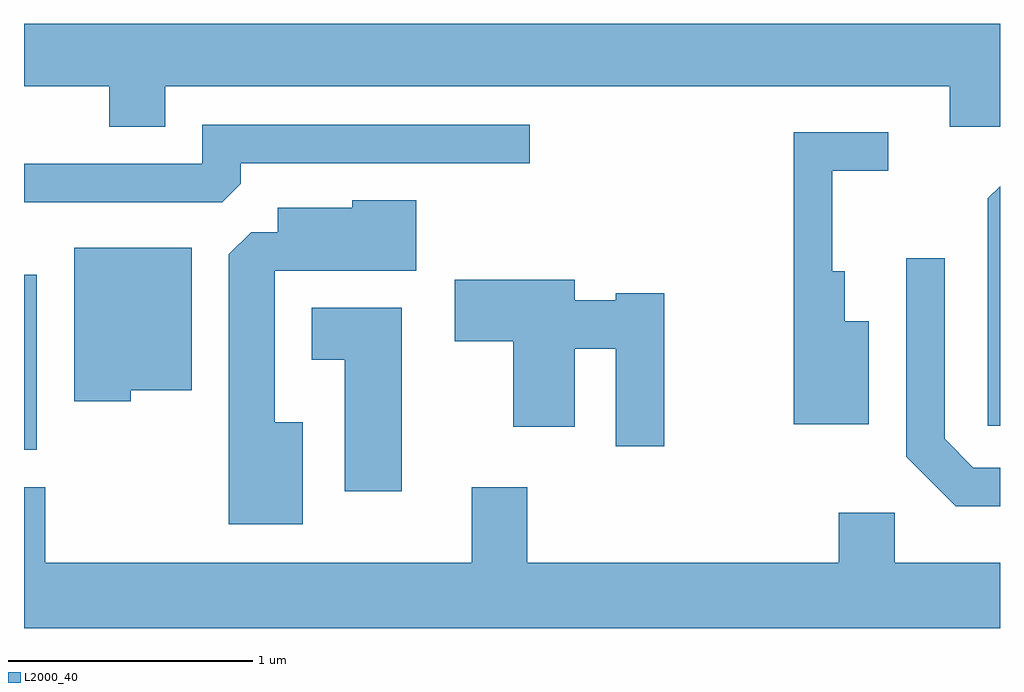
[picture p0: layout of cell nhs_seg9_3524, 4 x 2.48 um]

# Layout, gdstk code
import gdstk
lib = gdstk.Library(unit=1e-6, precision=1e-09)
def R(c, l, rs):  # rectangles x0, y0, x1, y1
    for r in rs: c.add(gdstk.rectangle(r[:2], r[2:], *l))
def P(c, l, *ps):  # polygons
    for p in ps: c.add(gdstk.Polygon(p, *l))
L2000_40 = (2000, 40)

nhs_seg9_3524 = lib.new_cell('nhs_seg9_3524')
R(nhs_seg9_3524, L2000_40, [(287.611,2074.686,287.664,2075.404)])
P(nhs_seg9_3524, L2000_40, [(288.189,2076.176),(291.406,2076.176),(291.406,2076.011),(291.611,2076.011),(291.611,2076.432),(287.611,2076.432),(287.611,2076.176),(287.961,2076.176),(287.961,2076.011),(288.189,2076.011)],
  [(288.499,2075.777),(288.499,2075.861),(289.683,2075.861),(289.683,2076.019),(288.341,2076.019),(288.341,2075.859),(287.611,2075.859),(287.611,2075.701),(288.424,2075.701)],
  [(291.074,2075.214),(290.974,2075.214),(290.974,2075.419),(290.924,2075.419),(290.924,2075.831),(291.153,2075.831),(291.153,2075.989),(290.766,2075.989),(290.766,2074.791),(291.074,2074.791)],
  [(291.611,2075.767),(291.561,2075.717),(291.561,2074.786),(291.611,2074.786)],
  [(288.754,2074.799),(288.639,2074.799),(288.639,2075.421),(289.219,2075.421),(289.219,2075.709),(288.956,2075.709),(288.956,2075.679),(288.651,2075.679),(288.651,2075.579),(288.542,2075.579),(288.451,2075.489),(288.451,2074.381),(288.754,2074.381)],
  [(288.049,2074.931),(288.299,2074.931),(288.299,2075.514),(287.816,2075.514),(287.816,2074.886),(288.049,2074.886)],
  [(291.611,2074.614),(291.502,2074.614),(291.384,2074.731),(291.384,2075.472),(291.226,2075.472),(291.226,2074.659),(291.429,2074.456),(291.611,2074.456)],
  [(290.234,2075.329),(290.036,2075.329),(290.036,2075.299),(289.869,2075.299),(289.869,2075.384),(289.376,2075.384),(289.376,2075.131),(289.616,2075.131),(289.616,2074.781),(289.869,2074.781),(289.869,2075.101),(290.036,2075.101),(290.036,2074.701),(290.234,2074.701)],
  [(289.159,2075.269),(288.791,2075.269),(288.791,2075.056),(288.926,2075.056),(288.926,2074.516),(289.159,2074.516)],
  [(291.611,2074.224),(291.179,2074.224),(291.179,2074.429),(290.951,2074.429),(290.951,2074.224),(289.674,2074.224),(289.674,2074.534),(289.446,2074.534),(289.446,2074.224),(287.699,2074.224),(287.699,2074.534),(287.611,2074.534),(287.611,2073.956),(291.611,2073.956)])

lib.write_gds('nhs_seg9_3524.gds')
